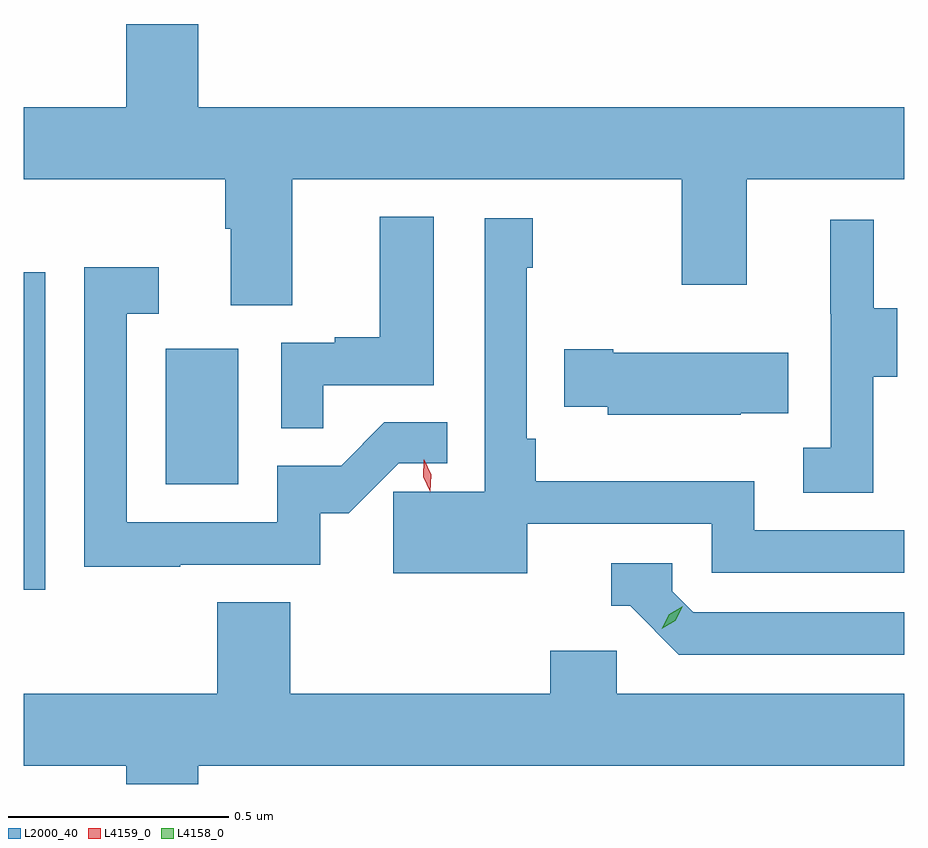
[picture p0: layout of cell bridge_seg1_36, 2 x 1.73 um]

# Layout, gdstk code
import gdstk
lib = gdstk.Library(unit=1e-6, precision=1e-09)
def R(c, l, rs):  # rectangles x0, y0, x1, y1
    for r in rs: c.add(gdstk.rectangle(r[:2], r[2:], *l))
def P(c, l, *ps):  # polygons
    for p in ps: c.add(gdstk.Polygon(p, *l))
L2000_40 = (2000, 40)
L4158_0 = (4158, 0)
L4159_0 = (4159, 0)

bridge_seg1_36 = lib.new_cell('bridge_seg1_36')
R(bridge_seg1_36, L2000_40, [(1063.875,568.116,1063.924,568.837), (1064.198,568.356,1064.362,568.663)])
P(bridge_seg1_36, L2000_40, [(1064.485,569.048),(1065.37,569.048),(1065.37,568.809),(1065.517,568.809),(1065.517,569.048),(1065.875,569.048),(1065.875,569.212),(1064.272,569.212),(1064.272,569.401),(1064.108,569.401),(1064.108,569.212),(1063.875,569.212),(1063.875,569.048),(1064.333,569.048),(1064.333,568.936),(1064.345,568.936),(1064.345,568.762),(1064.485,568.762)],
  [(1064.555,568.581),(1064.806,568.581),(1064.806,568.963),(1064.684,568.963),(1064.684,568.69),(1064.581,568.69),(1064.581,568.677),(1064.46,568.677),(1064.46,568.483),(1064.555,568.483)],
  [(1065.019,568.266),(1065.438,568.266),(1065.438,568.155),(1065.875,568.155),(1065.875,568.251),(1065.534,568.251),(1065.534,568.363),(1065.038,568.363),(1065.038,568.459),(1065.018,568.459),(1065.018,568.847),(1065.031,568.847),(1065.031,568.96),(1064.922,568.96),(1064.922,568.339),(1064.714,568.339),(1064.714,568.154),(1065.019,568.154)],
  [(1065.804,568.6),(1065.859,568.6),(1065.859,568.755),(1065.805,568.755),(1065.805,568.957),(1065.707,568.957),(1065.707,568.743),(1065.708,568.743),(1065.708,568.439),(1065.645,568.439),(1065.645,568.336),(1065.804,568.336)],
  [(1064.231,568.173),(1064.548,568.173),(1064.548,568.29),(1064.613,568.29),(1064.727,568.404),(1064.837,568.404),(1064.837,568.496),(1064.694,568.496),(1064.596,568.398),(1064.451,568.398),(1064.451,568.269),(1064.109,568.269),(1064.109,568.743),(1064.182,568.743),(1064.182,568.849),(1064.013,568.849),(1064.013,568.168),(1064.231,568.168)],
  [(1065.503,568.517),(1065.611,568.517),(1065.611,568.654),(1065.214,568.654),(1065.214,568.662),(1065.103,568.662),(1065.103,568.532),(1065.201,568.532),(1065.201,568.514),(1065.503,568.514)],
  [(1065.875,568.065),(1065.396,568.065),(1065.348,568.113),(1065.348,568.176),(1065.209,568.176),(1065.209,568.08),(1065.252,568.08),(1065.363,567.969),(1065.875,567.969)],
  [(1064.272,567.716),(1065.875,567.716),(1065.875,567.88),(1065.222,567.88),(1065.222,567.978),(1065.071,567.978),(1065.071,567.88),(1064.48,567.88),(1064.48,568.088),(1064.315,568.088),(1064.315,567.88),(1063.875,567.88),(1063.875,567.716),(1064.108,567.716),(1064.108,567.675),(1064.272,567.675)])
P(bridge_seg1_36, L4158_0, [(1065.324,568.028),(1065.324,568.028),(1065.341,568.06),(1065.372,568.079),(1065.372,568.079),(1065.372,568.079),(1065.355,568.046),(1065.324,568.028)])
P(bridge_seg1_36, L4159_0, [(1064.798,568.339),(1064.798,568.339),(1064.782,568.373),(1064.784,568.411),(1064.784,568.411),(1064.785,568.411),(1064.801,568.377),(1064.798,568.339)])

lib.write_gds('bridge_seg1_36.gds')
